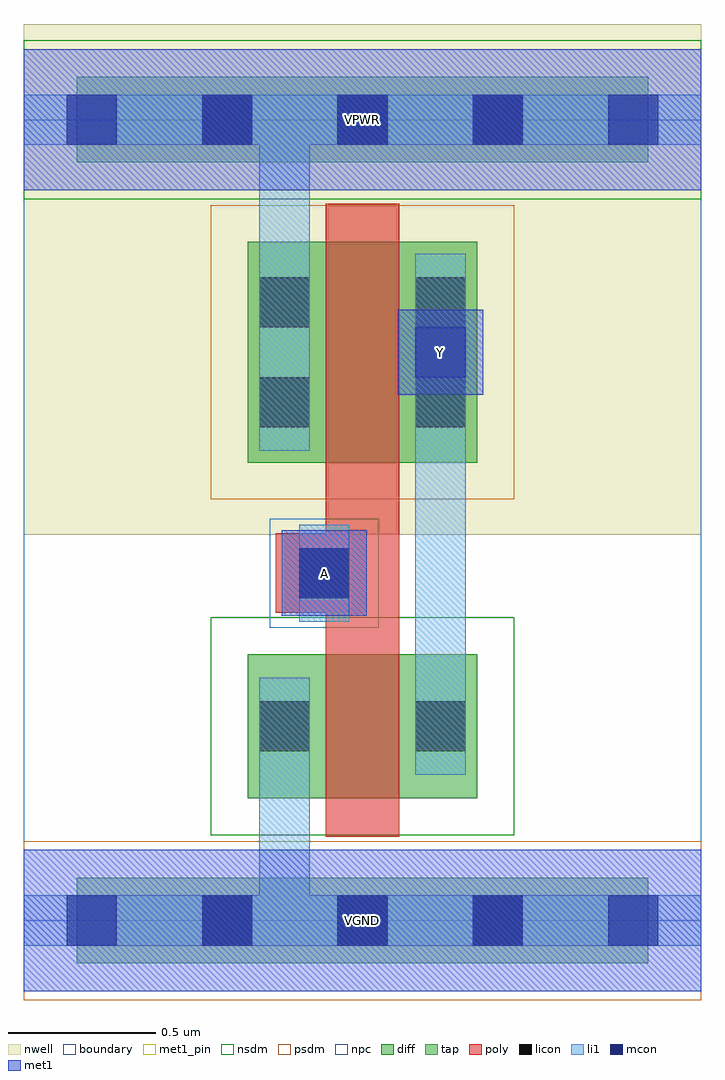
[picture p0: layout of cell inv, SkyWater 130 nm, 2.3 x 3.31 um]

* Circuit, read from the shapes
.subckt inv A VGND VPWR Y
XM1 Y A VGND VGND sky130_fd_pr__nfet_01v8 w=0.49 l=0.25
XM2 Y A VPWR VPWR sky130_fd_pr__pfet_01v8 w=0.75 l=0.25
.ends

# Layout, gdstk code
import gdstk
lib = gdstk.Library(unit=1e-6, precision=1e-09)
def R(c, l, rs):  # rectangles x0, y0, x1, y1
    for r in rs: c.add(gdstk.rectangle(r[:2], r[2:], *l))
def A(c, l, x, y, w, h, nx, ny, dx, dy):  # array of equal rectangles
    R(c, l, [(x+i*dx, y+j*dy, x+i*dx+w, y+j*dy+h) for i in range(nx) for j in range(ny)])
nwell = (64, 20)
diff = (65, 20)
tap = (65, 44)
poly = (66, 20)
licon = (66, 44)
li1 = (67, 20)
mcon = (67, 44)
met1_pin = (68, 16)
met1 = (68, 20)
nsdm = (93, 44)
psdm = (94, 20)
npc = (95, 20)
boundary = (235, 4)

inv = lib.new_cell('inv')
R(inv, nwell, [(0,1.31,2.3,3.045)])
R(inv, diff, [(0.76,0.415,1.54,0.905), (0.76,1.555,1.54,2.305)])
R(inv, tap, [(0.18,-0.145,2.12,0.145), (0.18,2.575,2.12,2.865)])
R(inv, poly, [(1.025,0.285,1.275,2.435), (0.855,1.045,1.185,1.315)])
A(inv, licon, 0.605, -0.085, 0.17, 0.17, 3, 2, 0.46, 2.72)
R(inv, licon, [(0.8,0.575,0.97,0.745), (1.33,0.575,1.5,0.745), (0.935,1.095,1.105,1.265), (0.8,1.675,0.97,1.845), (1.33,1.675,1.5,1.845), (0.8,2.015,0.97,2.185), (1.33,2.015,1.5,2.185)])
R(inv, li1, [(0,-0.085,2.3,0.085), (0.8,-0.085,0.97,0.825), (0.8,0.495,0.97,0.825), (1.33,0.495,1.5,0.825), (1.33,0.495,1.5,2.265), (0.935,1.015,1.105,1.345), (0.8,1.595,0.97,2.265), (0.8,1.595,0.97,2.805), (1.33,1.595,1.5,2.265), (0,2.635,2.3,2.805)])
A(inv, mcon, 0.145, -0.085, 0.17, 0.17, 5, 2, 0.46, 2.72)
R(inv, mcon, [(0.935,1.095,1.105,1.265), (1.33,1.845,1.5,2.015)])
R(inv, met1_pin, [(0,-0.24,2.3,0.24), (0.875,1.035,1.165,1.325), (1.27,1.785,1.56,2.075), (0,2.48,2.3,2.96)])
R(inv, met1, [(0,-0.24,2.3,0.24), (0.875,1.035,1.165,1.325), (1.27,1.785,1.56,2.075), (0,2.48,2.3,2.96)])
R(inv, nsdm, [(0.635,0.29,1.665,1.03), (0,2.45,2.3,2.99)])
R(inv, psdm, [(0,-0.27,2.3,0.27), (0.635,1.43,1.665,2.43)])
R(inv, npc, [(0.835,0.995,1.205,1.365)])
R(inv, boundary, [(0,0,2.3,2.72)])
inv.add(gdstk.Label('A', (1.02,1.18), layer=68, texttype=5))
inv.add(gdstk.Label('Y', (1.415,1.93), layer=68, texttype=5))
inv.add(gdstk.Label('VPWR', (1.15,2.72), layer=68, texttype=5))
inv.add(gdstk.Label('VGND', (1.15,0), layer=68, texttype=5))
inv.add(gdstk.Label('A', (1.02,1.18), layer=68, texttype=16))
inv.add(gdstk.Label('Y', (1.415,1.93), layer=68, texttype=16))
inv.add(gdstk.Label('VPWR', (1.15,2.72), layer=68, texttype=16))
inv.add(gdstk.Label('VGND', (1.15,0), layer=68, texttype=16))

lib.write_gds('inv.gds')
